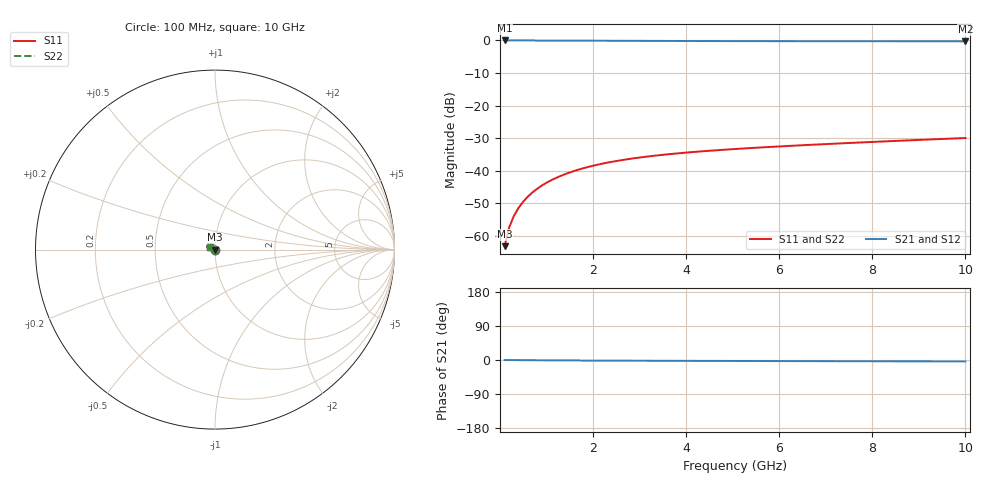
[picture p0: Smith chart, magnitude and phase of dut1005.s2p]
! Touchstone file exported from HFSS 2024.1.0
!  File:  C:/UserFiles/LocalFiles/RDL_TSV_Batchsim/temp_TSV1_1005_1780058390.aedt
!  Generated:  08:46:16 PM May 29, 2026
!  Design:  TSV1
!  Project:  temp_TSV1_1005_1780058390
!  Setup:  Setup1
!  Solution:  Sweep
! Variables:
!  dtsv = 8.67um
!  hbump = 3um
!  htsv = 54.28um
!  lrdl = 252.1521522um
!  p = 40
!  p1 = 58.6um
!  t = 500um
!  trdl = 3um
!  wrdl = 24.89489489um
# GHz S MA R 50.000000
! Terminal data exported
! Port[1] = TSV22_T1
! Port[2] = TSV22_T2
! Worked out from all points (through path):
!   100 points, 100 MHz to 10 GHz, reference 50 ohm
!   highest |S21| = 0.00 dB at 100 MHz (marker M1); lowest = -0.3 dB at 10 GHz (marker M2)
!   lowest |S11| = -63.3 dB at 100 MHz (marker M3), VSWR 1.00, Z = 50 - j0.0676 ohm
!   |S11| at or under -10 dB: start of sweep to end of sweep
!   |S22| runs from -63.3 to -30.0 dB; largest |S21 - S12| = 0
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0.1  0.0006878 -79.4  0.9998 -0.1  0.9998 -0.1  0.0006878 -79.4
! Gamma 0 0 0 0
! Port Impedance 50 0 50 0
0.2  0.001348 -88.2  0.9997 -0.2  0.9997 -0.2  0.001348 -88.2
0.3  0.002012 -92.8  0.9996 -0.3  0.9996 -0.3  0.002012 -92.8
0.4  0.002672 -96.2  0.9994 -0.4  0.9994 -0.4  0.002672 -96.2
0.5  0.003328 -99.2  0.9991 -0.4  0.9991 -0.4  0.003328 -99.2
0.6  0.003978 -102.0  0.9988 -0.5  0.9988 -0.5  0.003978 -102.0
0.7  0.00462 -104.6  0.9984 -0.6  0.9984 -0.6  0.00462 -104.6
0.8  0.005253 -107.1  0.998 -0.7  0.998 -0.7  0.005253 -107.1
0.9  0.005875 -109.5  0.9976 -0.8  0.9976 -0.8  0.005875 -109.5
1.1  0.007086 -114.2  0.9966 -0.9  0.9966 -0.9  0.007086 -114.2
1.4  0.008805 -120.8  0.995 -1.1  0.995 -1.1  0.008805 -120.8
1.6  0.009881 -125.0  0.9938 -1.2  0.9938 -1.2  0.009881 -125.0
1.8  0.0109 -129.0  0.9926 -1.4  0.9926 -1.4  0.0109 -129.0
2.1  0.01231 -134.8  0.9908 -1.5  0.9908 -1.5  0.01231 -134.8
2.5  0.01401 -141.9  0.9884 -1.7  0.9884 -1.7  0.01401 -141.9
2.9  0.01551 -148.4  0.9862 -1.9  0.9862 -1.9  0.01551 -148.4
3.4  0.01715 -155.8  0.9837 -2.1  0.9837 -2.1  0.01715 -155.8
4.2  0.01939 -166.1  0.9803 -2.3  0.9803 -2.3  0.01939 -166.1
5.1  0.02154 -176.0  0.9774 -2.6  0.9774 -2.6  0.02154 -176.0
6.7  0.02491 169.8  0.9739 -3.0  0.9739 -3.0  0.02491 169.8
8.4  0.02833 158.2  0.9715 -3.4  0.9715 -3.4  0.02833 158.2
10  0.03164 149.5  0.97 -3.9  0.97 -3.9  0.03164 149.5
